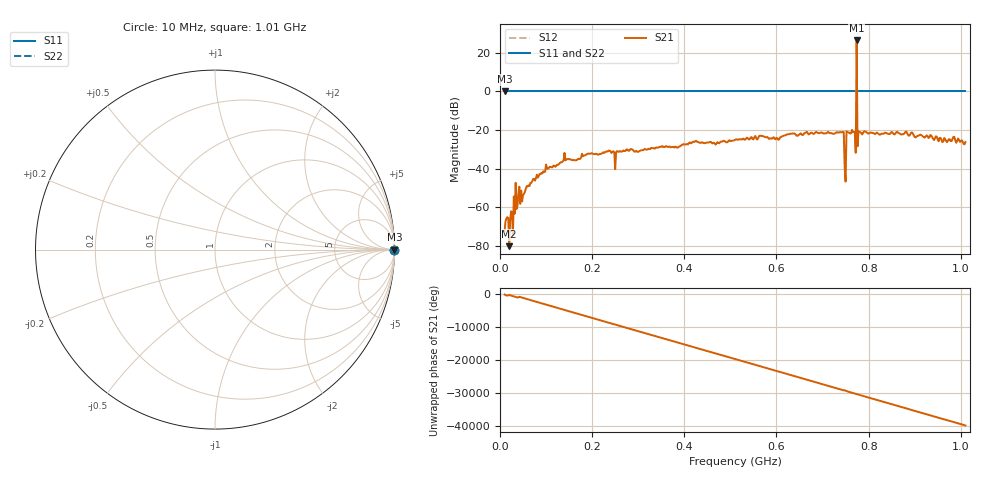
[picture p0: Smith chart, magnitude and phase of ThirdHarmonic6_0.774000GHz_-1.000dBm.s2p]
! 8/16/2025 1:51:28 AM
! C:\ANRITSUVNA\TEMP\TEMP.S2P
! CHANNEL.1
! TR.MEASUREMENT
! RAW.DATA
! RF.CORRECTION.OFF
! AVERAGING.OFF
! IF.BANDWIDTH: 5KHZ
! SWEEPTYPE:  FREQ.SWEEP(Linear)
! Reference Plane Port Info
! PORT:  PORT1  PORT2
! DISTANCE:  0  m  0  m
! TIME:  0  s  0  s
! PHASE.OFFSET:  0  deg.  0  deg.
! LOSS:  0  dB  0  dB
! REF.LOSS:  0  dB  0  dB
! REF.FREQ:  0  Hz  0  Hz
! Power Info
! POWER:  -20  dBm  -20  dBm
! EFF.POWER:  -20  dBm  -20  dBm
! SOURCE.ATTEN:  0  dB  0  dB
! TEST.ATTEN:  0  dB  0  dB
# GHZ S RI R 50.0
! FREQ.GHZ  S11RE  S11IM  S21RE  S21IM  S12RE  S12IM  S22RE  S22IM
!; PortSelection: Port_12
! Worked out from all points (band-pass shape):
!   501 points, 10 MHz to 1.01 GHz, reference 50 ohm
!   highest |S21| = 26.39 dB at 774 MHz (marker M1); lowest = -80.1 dB at 20 MHz (marker M2)
!   |S21| within 3 dB of the highest: 773.8968 MHz to 774.1095 MHz (212.7 kHz wide, 0.0275 % of centre)
!   lowest |S11| = 0.0 dB at 10 MHz (marker M3)
!   |S11| at or under -10 dB: nowhere
!   |S22| runs from 0.0 to 0.0 dB; largest |S21 - S12| = 21
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0.01  1 0  6.64e-05 -0.000235  1 0  1 0
0.02  1 0  -8.71e-05 4.56e-05  1 0  1 0
0.024  1 0  0.000547 -0.000565  1 0  1 0
0.038  1 0  -0.000314 0.00106  1 0  1 0
0.048  1 0  0.000686 0.00124  1 0  1 0
0.076  1 0  0.0049 -0.000162  1 0  1 0
0.142  1 0  -0.0156 -0.00479  1 0  1 0
0.178  1 0  -0.0238 0.00473  1 0  1 0
0.344  1 0  0.0333 -0.0122  1 0  1 0
0.51  1 0  -0.0438 0.0343  1 0  1 0
0.678  1 0  -0.0772 -0.0303  1 0  1 0
0.742  1 0  -0.0621 0.0614  1 0  1 0
0.746  1 0  0.0784 -0.0421  1 0  1 0
0.752  1 0  0.00405 0.0928  1 0  1 0
0.756  1 0  0.0219 -0.0843  1 0  1 0
0.768  1 0  -0.0851 0.0274  1 0  1 0
0.77  1 0  0.0138 0.0877  1 0  1 0
0.774  1 0  -10.98 -17.75  1 0  1 0
0.778  1 0  -0.0369 0.085  1 0  1 0
0.78  1 0  0.0738 0.0478  1 0  1 0
0.844  1 0  0.0694 -0.0371  1 0  1 0
1.01  1 0  -0.0156 0.0464  1 0  1 0
